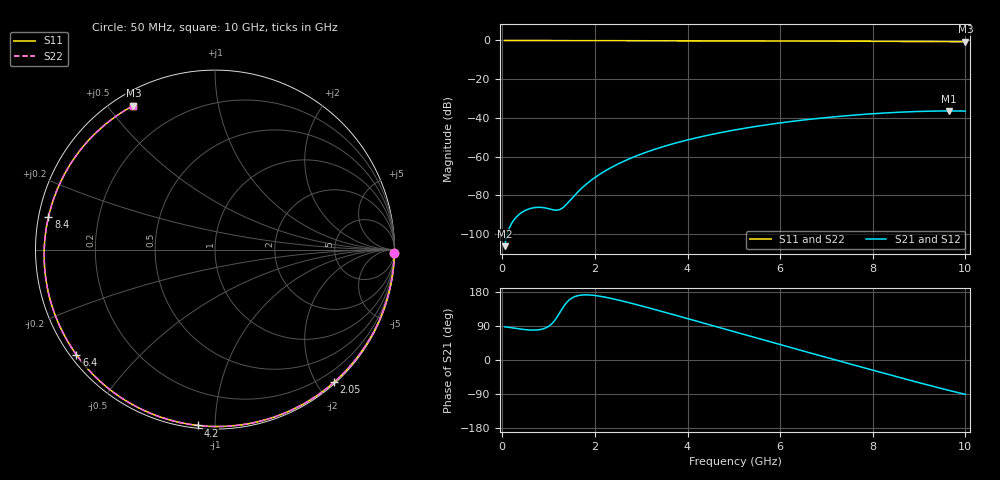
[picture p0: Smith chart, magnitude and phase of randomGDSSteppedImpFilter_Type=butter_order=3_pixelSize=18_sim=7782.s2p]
! freq	dB(S11)	phase(S11)	dB(S12)	phase(S12)
!  dB(S21)	phase(S21)	dB(S22)	phase(S22)
!S-par simulation data
#  GHz  S  DB  R 50
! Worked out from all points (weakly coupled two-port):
!   200 points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, 50 MHz to 10 GHz, reference 50 ohm
!   highest |S21| = -36.40 dB at 9.65 GHz (marker M1); lowest = -106.2 dB at 50 MHz (marker M2)
!   lowest |S11| = -0.7 dB at 10 GHz (marker M3), VSWR 24.75, Z = 2.7 + j29.1 ohm
!   |S11| at or under -10 dB: nowhere
!   |S22| runs from -0.7 to 0.0 dB; largest |S21 - S12| = 0
!   S11 on the Smith chart (normalised r, x): 50 MHz: 2, -94; 2.05 GHz: 0.02, -2.24; 4.2 GHz: 0.01, -0.91; 6.4 GHz: 0.02, -0.34; 8.4 GHz: 0.03, +0.10; 10 GHz: 0.05, +0.58
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0.05  -0.00 -1.2  -106.21 87.6  -106.21 87.6  -0.00 -1.2
0.8  -0.02 -19.1  -86.14 79.9  -86.14 79.9  -0.02 -19.1
1.55  -0.05 -36.6  -80.26 166.5  -80.26 166.5  -0.05 -36.6
1.75  -0.05 -41.3  -75.52 171.8  -75.52 171.8  -0.05 -41.3
2.05  -0.06 -48.1  -69.95 169.4  -69.95 169.4  -0.06 -48.1
2.35  -0.07 -54.9  -65.62 162.5  -65.62 162.5  -0.07 -54.9
2.65  -0.08 -61.7  -62.08 153.9  -62.08 153.9  -0.08 -61.7
3  -0.09 -69.5  -58.65 142.9  -58.65 142.9  -0.09 -69.5
3.4  -0.10 -78.3  -55.37 129.7  -55.37 129.7  -0.10 -78.3
4.2  -0.14 -95.6  -50.21 102.4  -50.21 102.4  -0.14 -95.6
5.05  -0.18 -113.7  -46.08 73.2  -46.08 73.2  -0.18 -113.7
5.7  -0.22 -127.6  -43.58 51.0  -43.58 51.0  -0.22 -127.6
6.4  -0.27 -142.8  -41.37 27.1  -41.37 27.1  -0.27 -142.8
6.7  -0.30 -149.5  -40.55 16.9  -40.55 16.9  -0.30 -149.5
7.15  -0.34 -159.8  -39.47 1.7  -39.47 1.7  -0.34 -159.8
7.55  -0.38 -169.3  -38.63 -11.8  -38.63 -11.8  -0.38 -169.3
7.95  -0.43 -179.2  -37.92 -25.2  -37.92 -25.2  -0.43 -179.2
8.35  -0.48 170.4  -37.33 -38.5  -37.33 -38.5  -0.48 170.4
8.4  -0.48 169.0  -37.26 -40.2  -37.26 -40.2  -0.48 169.0
9.05  -0.57 150.5  -36.62 -61.5  -36.62 -61.5  -0.57 150.5
9.65  -0.65 131.6  -36.40 -80.4  -36.40 -80.4  -0.65 131.6
10  -0.70 119.5  -36.47 -90.7  -36.47 -90.7  -0.70 119.6
